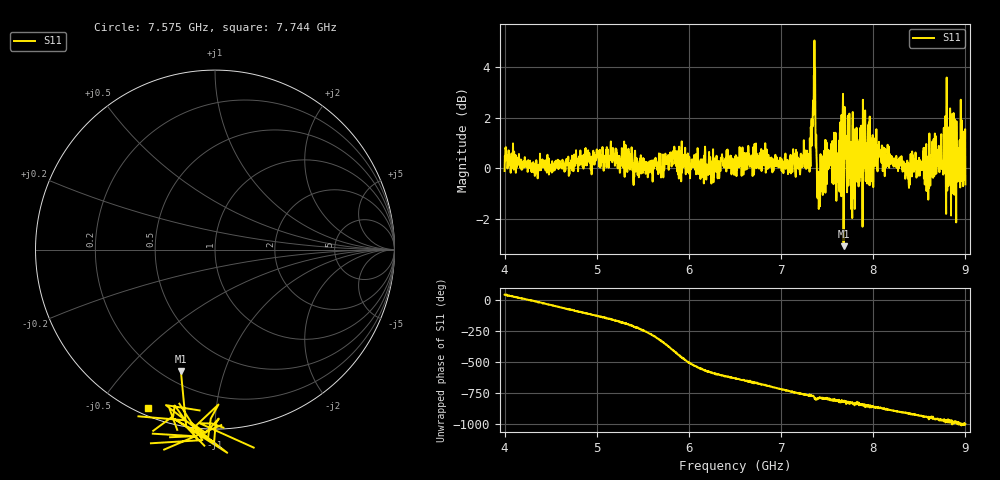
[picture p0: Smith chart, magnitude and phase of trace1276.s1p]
! Created with skrf 1.8.0 (http://scikit-rf.org).
# Hz S RI R 50.0
!freq ReS11 ImS11
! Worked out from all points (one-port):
!   1601 points, 4 GHz to 9 GHz, reference 50 ohm
!   lowest |S11| = -3.1 dB at 7.678 GHz (marker M1), VSWR 5.72, Z = 13.5 - j36.1 ohm
!   |S11| at or under -10 dB: nowhere
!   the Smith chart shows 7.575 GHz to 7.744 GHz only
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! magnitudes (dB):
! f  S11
! 4 GHz  -0.1
! 4.625 GHz  0.0
! 5.25 GHz  -0.2
! 5.875 GHz  -0.1
! 6.5 GHz  0.2
! 7.125 GHz  0.2
! 7.294 GHz  0.3
! 7.347 GHz  2.7
! 7.369 GHz  3.9
! 7.397 GHz  -1.2
! 7.412 GHz  -1.3
! 7.488 GHz  1.1
! 7.609 GHz  -0.2
! 7.678 GHz  -3.1
! 7.75 GHz  0.3
! 7.788 GHz  -0.9
! 7.928 GHz  0.7
! 7.981 GHz  0.0
! 8.05 GHz  0.6
! 8.375 GHz  0.0
! 8.55 GHz  -0.4
! 8.603 GHz  -0.7
! 8.712 GHz  0.9
! 8.766 GHz  1.6
! 8.822 GHz  1.0
! 8.919 GHz  -0.2
! 8.972 GHz  0.8
! 9 GHz  -0.6
